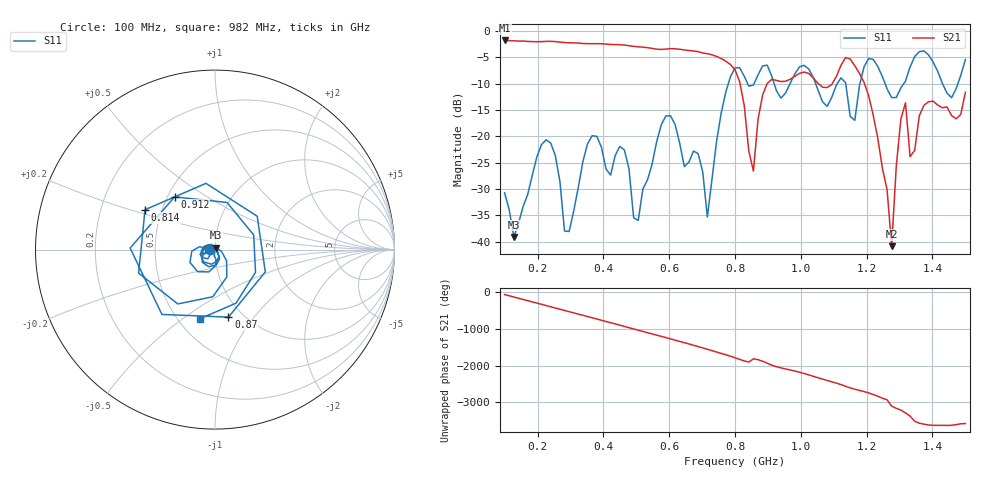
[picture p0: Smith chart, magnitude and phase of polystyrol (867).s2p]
! NanoVNA-App
! Date: 2025-09-25 15:36:38
! Start: 100MHz Stop: 1,5GHz Points: 101
! S-Parameter data: F S11 S21 S12 S22
# Hz S RI R 50
!  Frequency  S11_Real  S11_Imag  S21_Real  S21_Imag  S12_Real  S12_Imag  S22_Real  S22_Imag
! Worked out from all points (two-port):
!   101 points, 100 MHz to 1.5 GHz, reference 50 ohm
!   highest |S21| = -1.80 dB at 100 MHz (marker M1); lowest = -40.8 dB at 1.276 GHz (marker M2)
!   |S21| within 3 dB of the highest: start of sweep to 742.9 MHz
!   lowest |S11| = -39.1 dB at 128 MHz (marker M3), VSWR 1.02, Z = 50.3 + j1.06 ohm
!   |S11| at or under -10 dB: start of sweep to 779.7 MHz; 1.045 GHz to 1.11 GHz (65.45 MHz wide, 6.07 % of centre); 1.256 GHz to 1.313 GHz (56.7 MHz wide, 4.41 % of centre) (the widest 3 of 7)
!   S12 and S22 are empty: the file has one direction only
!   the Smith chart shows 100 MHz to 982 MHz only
!   S11 on the Smith chart (normalised r, x): 100 MHz: 0.94, -0.01; 814 MHz: 0.40, +0.22; 870 MHz: 0.85, -0.75; 912 MHz: 0.54, +0.37; 982 MHz: 0.64, -0.58
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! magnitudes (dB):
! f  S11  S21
! 100 MHz  -30.7  -1.8
! 128 MHz  -39.1  -1.9
! 212 MHz  -21.6  -2.0
! 282 MHz  -38.0  -2.2
! 338 MHz  -24.7  -2.4
! 464 MHz  -22.6  -2.7
! 506 MHz  -36.0  -3.0
! 576 MHz  -17.8  -3.5
! 716 MHz  -35.3  -4.3
! 800 MHz  -7.0  -7.4
! 814 MHz  -7.0  -9.6
! 856 MHz  -10.3  -26.6
! 870 MHz  -8.3  -16.8
! 912 MHz  -8.6  -9.2
! 982 MHz  -8.1  -8.6
! 1.038 GHz  -8.8  -9.0
! 1.164 GHz  -16.9  -6.6
! 1.192 GHz  -6.8  -9.7
! 1.276 GHz  -12.6  -40.8
! 1.318 GHz  -9.5  -13.6
! 1.332 GHz  -6.8  -23.9
! 1.5 GHz  -5.4  -11.6
